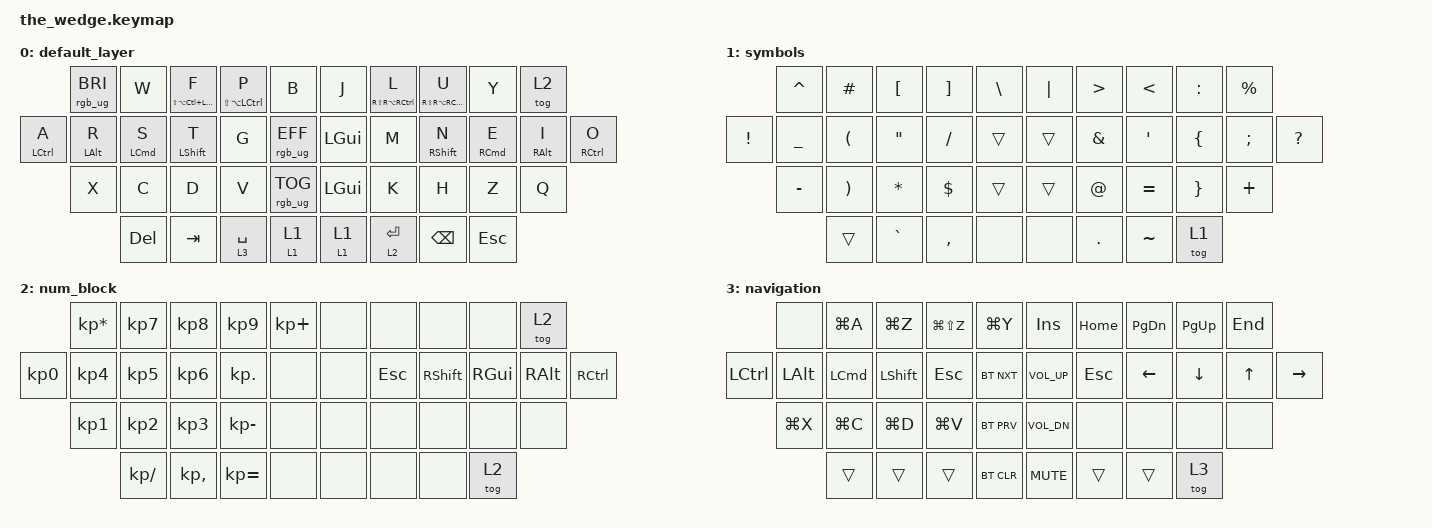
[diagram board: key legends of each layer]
#include <behaviors.dtsi>
#include <dt-bindings/zmk/bt.h>
#include <dt-bindings/zmk/keys.h>
#include <dt-bindings/zmk/rgb.h>

/ {
    behaviors {
        hll: hold_long {
            compatible = "zmk,behavior-hold-tap";
            label = "Hold-Tap Long";
            #binding-cells = <2>;
            flavor = "tap-preferred";
            bindings =
                <&kp>,
                <&kp>;

            tapping-term-ms = <400>;
            global-quick-tap;
            quick-tap-ms = <100>;
        };
        hl: hold {
            compatible = "zmk,behavior-hold-tap";
            label = "Hold-Tap";
            #binding-cells = <2>;
            flavor = "tap-preferred";
            bindings =
                <&kp>,
                <&kp>;

            tapping-term-ms = <300>;
            quick-tap-ms = <100>;
            global-quick-tap;
        };
        hls: hold_short {
            compatible = "zmk,behavior-hold-tap";
            label = "Hold-Tap Short";
            #binding-cells = <2>;
            flavor = "tap-preferred";
            bindings =
                <&kp>,
                <&kp>;

            tapping-term-ms = <200>;
            quick-tap-ms = <100>;
            global-quick-tap;
        };
        tl: to_layer {
            compatible = "zmk,behavior-hold-tap";
            label = "Momentary Layer on hold, sticky on tap";
            bindings =
                <&mo>,
                <&sl>;

            #binding-cells = <2>;
            tapping-term-ms = <200>;
            flavor = "balanced";
        };
    };

    combos {
        compatible = "zmk,combos";

        reset_right {
            bindings = <&bootloader>;
            key-positions = <37 9>;
            layers = <0 2>;
        };

        reset_left {
            bindings = <&bootloader>;
            key-positions = <0 34>;
        };
    };

    keymap {
        compatible = "zmk,keymap";

        default_layer {
            // -----------------------------------------------------------------------------------------
            // | CPS |  W  |  F  |  P  |  B  |                 |  J  |  L  |  U  |  Y  |     |
            // |  A  |  R  |  S  |  T  |  G  |     |     |     |  M  |  N  |  E  |  I  |  O  |  
            //       |  X  |  C  |  D  |  V  |     |     |     |  K  |  H  |  Z  |  Q  |   
            //             | CPY | TAB | SPC | SYM |     | SYM | RET | BSP | ESC |

            bindings = <
  &rgb_ug RGB_BRI           &kp W  &hll LS(LA(LC(LCMD))) F  &hll LS(LA(LCTRL)) P        &kp B                              &kp J  &hll RS(RA(RCTRL)) L  &hll RS(RA(RC(RCMD))) U       &kp Y        &tog 2
&hll LCTRL A  &hl LEFT_ALT R              &hll LCMD S         &hls LSHIFT T        &kp G  &rgb_ug RGB_EFF    &kp LGUI        &kp M         &hls RSHIFT N              &hll RCMD E  &hl RALT I  &hll RCTRL O
                       &kp X                    &kp C                 &kp D        &kp V  &rgb_ug RGB_TOG    &kp LGUI        &kp K                 &kp H                    &kp Z       &kp Q
                                           &kp DELETE               &kp TAB  &lt 3 SPACE   &tl 1 1     &tl 1 1  &lt 2 ENTER              &kp BSPC                  &kp ESC
            >;
        };

        symbols {
            bindings = <
      &kp CARET        &kp HASH       &kp LEFT_BRACKET  &kp RIGHT_BRACKET  &kp BACKSLASH                         &kp PIPE  &kp GREATER_THAN    &kp LESS_THAN      &kp COLON   &kp PERCENT
&kp EXCLAMATION  &kp UNDERSCORE   &kp LEFT_PARENTHESIS  &kp DOUBLE_QUOTES      &kp SLASH  &trans    &trans  &kp AMPERSAND    &kp APOSTROPHE   &kp LEFT_BRACE  &kp SEMICOLON  &kp QUESTION
                      &kp MINUS  &kp RIGHT_PARENTHESIS       &kp ASTERISK     &kp DOLLAR  &trans    &trans         &kp AT         &kp EQUAL  &kp RIGHT_BRACE       &kp PLUS
                                                &trans          &kp GRAVE      &kp COMMA   &none     &none        &kp DOT         &kp TILDE           &tog 1
            >;
        };

        num_block {
            bindings = <
&kp KP_MULTIPLY  &kp KP_NUMBER_7  &kp KP_NUMBER_8  &kp KP_NUMBER_9      &kp KP_PLUS                    &none            &none          &none          &none     &tog 2
      &kp KP_N0  &kp KP_NUMBER_4  &kp KP_NUMBER_5  &kp KP_NUMBER_6       &kp KP_DOT  &none    &none  &kp ESC  &kp RIGHT_SHIFT  &kp RIGHT_GUI  &kp RIGHT_ALT  &kp RCTRL
                 &kp KP_NUMBER_1  &kp KP_NUMBER_2  &kp KP_NUMBER_3  &kp KP_SUBTRACT  &none    &none    &none            &none          &none          &none
                                    &kp KP_DIVIDE     &kp KP_COMMA     &kp KP_EQUAL  &none    &none    &none            &none         &tog 2
            >;
        };

        navigation {
            bindings = <
    &none     &kp LG(A)  &kp LG(Z)  &kp LG(LS(Z))  &kp LG(Y)                                 &kp INS        &kp HOME   &kp PAGE_DOWN   &kp PAGE_UP    &kp END
&kp LCTRL  &kp LEFT_ALT   &kp LCMD     &kp LSHIFT    &kp ESC  &bt BT_NXT    &kp C_VOLUME_UP  &kp ESC  &kp LEFT_ARROW  &kp DOWN_ARROW  &kp UP_ARROW  &kp RIGHT
              &kp LG(X)  &kp LG(C)      &kp LG(D)  &kp LG(V)  &bt BT_PRV       &kp C_VOL_DN    &none           &none           &none         &none
                            &trans         &trans     &trans  &bt BT_CLR         &kp C_MUTE   &trans          &trans          &tog 3
            >;
        };
    };
};
